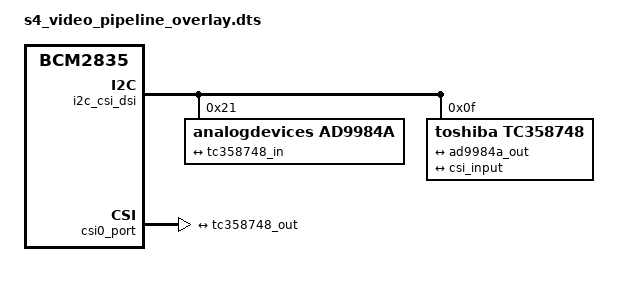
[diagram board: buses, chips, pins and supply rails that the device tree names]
/dts-v1/;
/plugin/;

/ {
    compatible = "brcm,bcm2835";

    fragment@0 {
        target = <&i2c_csi_dsi>;
        __overlay__ {
            #address-cells = <1>;
            #size-cells = <0>;

            ad9984a: ad9984a@21 {
                compatible = "analogdevices,ad9984a";
                reg = <0x21>;
                status = "okay";
                pinctrl-names = "default";
                pinctrl-0 = <&i2c_csi_dsi_pins>;

                /* Enable extended V4L2 controls for auto-detection telemetry */
                auto-timing-detect;
                auto-framerate-detect;
                enable-v4l2-controls;

                port {
                    ad9984a_out: endpoint {
                        remote-endpoint = <&tc358748_in>;
                        bus-width = <24>;
                        data-shift = <0>;
                        hsync-active = <1>;
                        vsync-active = <1>;
                        pclk-sample = <1>;
                        data-enable-active = <1>;
                        bus-type = <5>; /* V4L2_MBUS_PARALLEL */
                    };
                };
            };

            tc358748: tc358748@0f {
                compatible = "toshiba,tc358748";
                reg = <0x0f>;
                status = "okay";

                port@0 {
                    tc358748_in: endpoint {
                        remote-endpoint = <&ad9984a_out>;
                        bus-width = <24>;
                        data-shift = <0>;
                        hsync-active = <1>;
                        vsync-active = <1>;
                        pclk-sample = <1>;
                        data-enable-active = <1>;
                        bus-type = <5>; /* V4L2_MBUS_PARALLEL */
                    };
                };

                port@1 {
                    tc358748_out: endpoint {
                        bus-type = <4>; /* V4L2_MBUS_CSI2_DPHY */
                        remote-endpoint = <&csi_input>;
                    };
                };
            };
        };
    };

    fragment@1 {
        target = <&csi0_port>; // Or &csi1_port depending on platform
        __overlay__ {
            csi_input: endpoint {
                remote-endpoint = <&tc358748_out>;
                data-lanes = <1 2>; // Adjust based on actual hardware
            };
        };
    };
};
